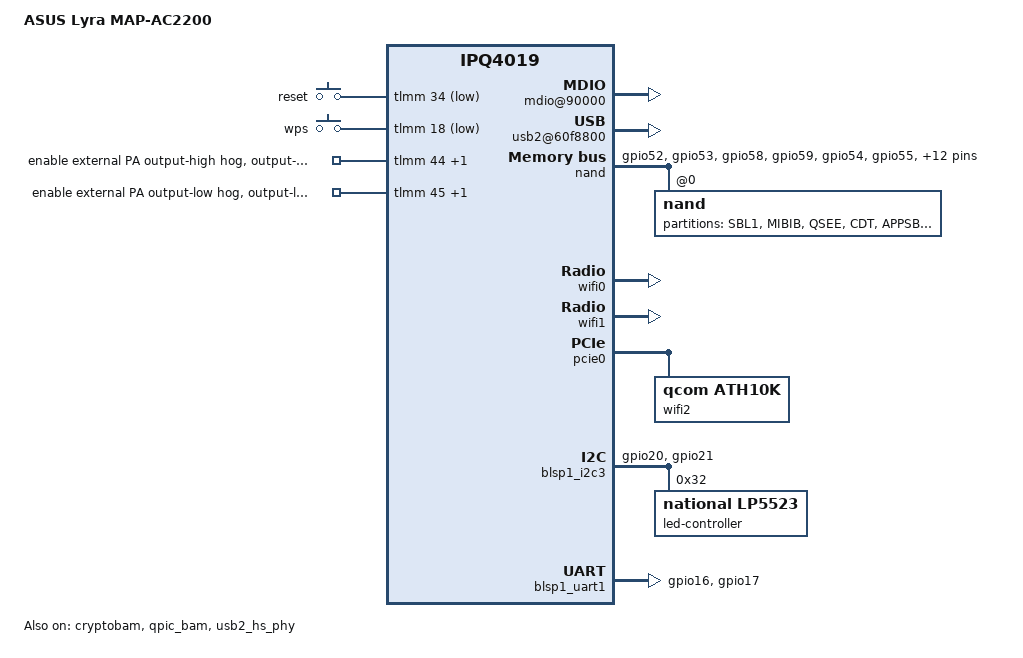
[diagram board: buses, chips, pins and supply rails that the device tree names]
// SPDX-License-Identifier: GPL-2.0-or-later OR MIT
/dts-v1/;

#include "qcom-ipq4019.dtsi"
#include <dt-bindings/gpio/gpio.h>
#include <dt-bindings/input/input.h>
#include <dt-bindings/soc/qcom,tcsr.h>

/ {
	model = "ASUS Lyra MAP-AC2200";
	compatible = "asus,map-ac2200";

	aliases {
		led-boot = &led_blue0;
		led-failsafe = &led_red0;
		led-running = &led_blue0;
		led-upgrade = &led_red0;
	};

	soc {
		rng@22000 {
			status = "okay";
		};

		mdio@90000 {
			status = "okay";
		};

		ess-psgmii@98000 {
			status = "okay";
		};

		tcsr@1949000 {
			compatible = "qcom,tcsr";
			reg = <0x1949000 0x100>;
			qcom,wifi_glb_cfg = <TCSR_WIFI_GLB_CFG>;
		};

		ess_tcsr@1953000 {
			compatible = "qcom,tcsr";
			reg = <0x1953000 0x1000>;
			qcom,ess-interface-select = <TCSR_ESS_PSGMII>;
		};

		tcsr@1957000 {
			compatible = "qcom,tcsr";
			reg = <0x1957000 0x100>;
			qcom,wifi_noc_memtype_m0_m2 = <TCSR_WIFI_NOC_MEMTYPE_M0_M2>;
		};

		usb2@60f8800 {
			status = "okay";
		};

		crypto@8e3a000 {
			status = "okay";
		};

		watchdog@b017000 {
			status = "okay";
		};

		ess-switch@c000000 {
			status = "okay";
		};

		edma@c080000 {
			status = "okay";
		};
	};

	keys {
		compatible = "gpio-keys";

		reset {
			label = "reset";
			gpios = <&tlmm 34 GPIO_ACTIVE_LOW>;
			linux,code = <KEY_RESTART>;
		};

		wps {
			label = "wps";
			gpios = <&tlmm 18 GPIO_ACTIVE_LOW>;
			linux,code = <KEY_WPS_BUTTON>;
		};
	};
};

&nand {
	pinctrl-0 = <&nand_pins>;
	pinctrl-names = "default";
	status = "okay";

	nand@0 {
		partitions {
			compatible = "fixed-partitions";
			#address-cells = <1>;
			#size-cells = <1>;

			partition@0 {
				label = "SBL1";
				reg = <0x0 0x80000>;
				read-only;
			};

			partition@80000 {
				label = "MIBIB";
				reg = <0x80000 0x80000>;
				read-only;
			};

			partition@100000 {
				label = "QSEE";
				reg = <0x100000 0x100000>;
				read-only;
			};

			partition@200000 {
				label = "CDT";
				reg = <0x200000 0x80000>;
				read-only;
			};

			partition@280000 {
				label = "APPSBL";
				reg = <0x280000 0x140000>;
				read-only;
			};

			partition@3c0000 {
				label = "APPSBLENV";
				reg = <0x3c0000 0x40000>;
				read-only;
			};

			partition@400000 {
				label = "ubi";
				reg = <0x400000 0x7c00000>;
			};
		};
	};
};

&tlmm {
	i2c_0_pins: i2c_0_pinmux {
		pinmux {
			function = "blsp_i2c0";
			pins = "gpio20", "gpio21";
			drive-strength = <16>;
			bias-disable;
		};
	};

	serial_pins: serial_pinmux {
		mux {
			pins = "gpio16", "gpio17";
			function = "blsp_uart0";
			bias-disable;
		};
	};

	nand_pins: nand_pins {
		pullups {
			pins =	"gpio52", "gpio53", "gpio58",
				"gpio59";
			function = "qpic";
			bias-pull-up;
		};

		pulldowns {
			pins =	"gpio54", "gpio55", "gpio56",
				"gpio57", "gpio60", "gpio61",
				"gpio62", "gpio63", "gpio64",
				"gpio65", "gpio66", "gpio67",
				"gpio68", "gpio69";
			function = "qpic";
			bias-pull-down;
		};
	};

	enable_ext_pa_high {
		gpio-hog;
		gpios = <44 GPIO_ACTIVE_HIGH>,
			<46 GPIO_ACTIVE_HIGH>;
		output-high;
		bias-pull-down;
		line-name = "enable external PA output-high";
	};

	enable_ext_pa_low {
		gpio-hog;
		gpios = <45 GPIO_ACTIVE_HIGH>,
			<47 GPIO_ACTIVE_HIGH>;
		output-low;
		bias-pull-down;
		line-name = "enable external PA output-low";
	};
};

&cryptobam {
	status = "okay";
};

&blsp_dma {
	status = "okay";
};

&qpic_bam {
	status = "okay";
};

&wifi0 {
	status = "okay";
	qcom,ath10k-calibration-variant = "ASUS-MAP-AC2200";
};

&wifi1 {
	status = "okay";
	qcom,ath10k-calibration-variant = "ASUS-MAP-AC2200";
	ieee80211-freq-limit = <5470000 5875000>;
};

&pcie0 {
	status = "okay";
	perst-gpio = <&tlmm 38 GPIO_ACTIVE_LOW>;
	wake-gpio = <&tlmm 50 GPIO_ACTIVE_LOW>;

	bridge@0,0 {
		reg = <0x00000000 0 0 0 0>;
		#address-cells = <3>;
		#size-cells = <2>;
		ranges;

		wifi2: wifi@1,0 {
			compatible = "qcom,ath10k";
			status = "okay";
			reg = <0x00010000 0 0 0 0>;
			qcom,ath10k-calibration-variant = "ASUS-MAP-AC2200";
			ieee80211-freq-limit = <5170000 5350000>;
		};
	};
};

&usb2_hs_phy {
	/* Bluetooth module attached via USB */
	status = "okay";
};

&blsp1_i2c3 {
	pinctrl-0 = <&i2c_0_pins>;
	pinctrl-names = "default";
	status = "okay";

	led-controller@32 {
		/* 9-channel RGB LED controller */
		compatible = "national,lp5523";
		reg = <0x32>;
		clock-mode = [01];

		led_blue0: blue0 {
			chan-name = "blue0";
			label = "blue:chan0";
			led-cur = [fa];
			max-cur = [ff];
		};

		blue1 {
			chan-name = "blue1";
			label = "blue:chan1";
			led-cur = [fa];
			max-cur = [ff];
		};

		blue2 {
			chan-name = "blue2";
			label = "blue:chan2";
			led-cur = [fa];
			max-cur = [ff];
		};

		led_green0: green0 {
			chan-name = "green0";
			label = "green:chan0";
			led-cur = [fa];
			max-cur = [ff];
		};

		green1 {
			chan-name = "green1";
			label = "green:chan1";
			led-cur = [fa];
			max-cur = [ff];
		};

		green2 {
			chan-name = "green2";
			label = "green:chan2";
			led-cur = [fa];
			max-cur = [ff];
		};

		led_red0: red0 {
			chan-name = "red0";
			label = "red:chan0";
			led-cur = [fa];
			max-cur = [ff];
		};

		red1 {
			chan-name = "red1";
			label = "red:chan1";
			led-cur = [fa];
			max-cur = [ff];
		};

		red2 {
			chan-name = "red2";
			label = "red:chan2";
			led-cur = [fa];
			max-cur = [ff];
		};
	};
};

&blsp1_uart1 {
	pinctrl-0 = <&serial_pins>;
	pinctrl-names = "default";
	status = "okay";
};
